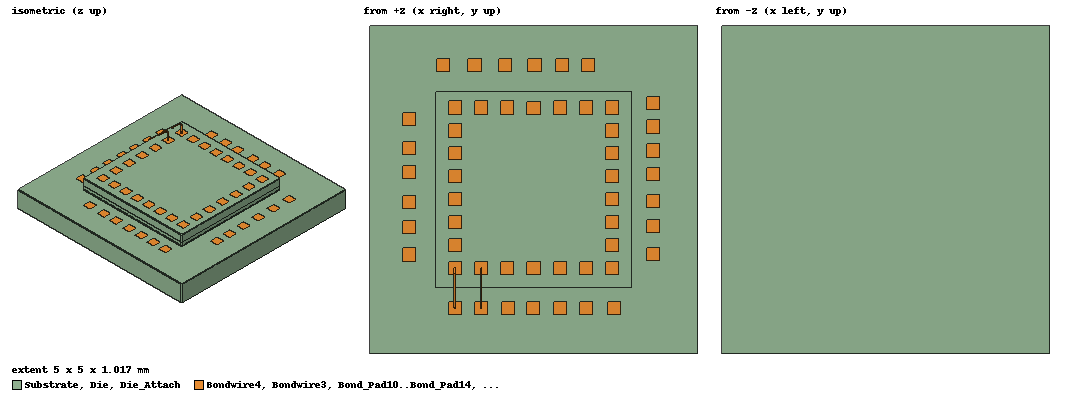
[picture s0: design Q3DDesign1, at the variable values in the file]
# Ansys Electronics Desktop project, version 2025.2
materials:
  vacuum: permittivity=1
  copper: permeability=0.999991 conductivity=58000000
  silicon: permittivity=11.9
  FR4_epoxy: permittivity=4.4 dielectric_loss_tangent=0.02
  modified_epoxy: permittivity=4.2 dielectric_loss_tangent=0.02

design Q3DDesign1 (Q3D Extractor, model units mm)
options: SParamCalcMethod=EqTransLine Calculate_Lossy_Dielectrics
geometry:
  Die [silicon] = rectangle(corner=(0mm, 0mm, 0mm), x_size=3mm, y_size=3mm)
  Die.thicken(0.2mm)
  Substrate [FR4_epoxy] = rectangle(corner=(-1mm, -1mm, -0.1mm), x_size=5mm, y_size=5mm)
  Substrate.thicken(-0.5mm)
  Die_Attach [modified_epoxy] = rectangle(corner=(0mm, 0mm, -0.1mm), x_size=3mm, y_size=3mm)
  Die_Attach.thicken(0.1mm)
  Bond_Pad1 [copper] = rectangle(corner=(0.2mm, 0.2mm, 0.2mm), x_size=0.2mm, y_size=0.2mm)
  Bond_Pad1.thicken(0.005mm)
  Bond_Pad26, Bond_Pad25, Bond_Pad24, Bond_Pad23, Bond_Pad22, Bond_Pad21 [copper] = Bond_Pad1.duplicate_along_line(step=(0mm, 0.35mm, -0.005mm), total=7)
  Bond_Pad26.move(0mm, 0mm, 0.005mm)
  Bond_Pad25.move(0mm, 0mm, 0.01mm)
  Bond_Pad24.move(0mm, 0mm, 0.005mm)
  Bond_Pad24.move(0mm, 0mm, 0.005mm)
  Bond_Pad24.move(0mm, 0mm, 0.005mm)
  Bond_Pad23.move(0mm, 0mm, 0.02mm)
  Bond_Pad22.move(0mm, 0mm, 0.025mm)
  Bond_Pad21.move(0mm, 0mm, 0.03mm)
  Bond_Pad20 [copper] = Bond_Pad21.duplicate_along_line(step=(1.110223e-16mm, 0.35mm, -0.005mm), total=2)
  Bond_Pad20.move(0mm, 0mm, 0.005mm)
  Bond_Pad2..Bond_Pad7 [copper] = Bond_Pad1.duplicate_along_line(step=(0.4mm, 5.5511151e-17mm, -0.005mm), total=7)
  Bond_Pad2.move(0mm, 0mm, 0mm)
  Bond_Pad2.move(0mm, -2.7755576e-17mm, 0.005mm)
  Bond_Pad3.move(0mm, -1.110223e-16mm, 0.01mm)
  Bond_Pad4.move(0mm, -0.2mm, 0.015mm)
  Bond_Pad5.move(0mm, -1.9428903e-16mm, 0.02mm)
  Bond_Pad6.move(0mm, -2.4980018e-16mm, 0.025mm)
  Bond_Pad7.move(0mm, -3.3306691e-16mm, 0.03mm)
  Bond_Pad4.move(-2.220446e-16mm, 0.2mm, -0.005mm)
  Bond_Pad8..Bond_Pad14 [copper] = Bond_Pad7.duplicate_along_line(step=(0mm, 0.34mm, -0.005mm), total=8)
  Bond_Pad14.move(0mm, 0.07mm, 0.03mm)
  Bond_Pad14.move(0mm, -4.4408921e-16mm, 0.005mm)
  Bond_Pad13.move(0mm, 0.06mm, 0.03mm)
  Bond_Pad12.move(0mm, 0.05mm, 0.025mm)
  Bond_Pad11.move(0mm, 0.04mm, 0.02mm)
  Bond_Pad10.move(0mm, 0.035mm, 0.015mm)
  Bond_Pad10.move(0mm, -0.005mm, 0mm)
  Bond_Pad9.move(0mm, 0.01mm, 0.01mm)
  Bond_Pad9.move(0mm, 0.01mm, 0mm)
  Bond_Pad8.move(0mm, 0.01mm, 0.005mm)
  Bond_Pad19, Bond_Pad18, Bond_Pad17, Bond_Pad16, Bond_Pad15 [copper] = Bond_Pad20.duplicate_along_line(step=(0.35mm, -4.4408921e-16mm, -0.005mm), total=7)  # copies kept: 1..5
  Bond_Pad19.move(0.02mm, -4.4408921e-16mm, 0.005mm)
  Bond_Pad19.move(0.01mm, 0mm, 0mm)
  Bond_Pad19.move(0.01mm, 0mm, 0mm)
  Bond_Pad19.move(0.01mm, 0mm, 0mm)
  Bond_Pad18.move(0.1mm, 0mm, 0.01mm)
  Bond_Pad4.move(0mm, 0mm, 0.01mm)
  Bond_Pad4.move(0mm, -0.2mm, -0.005mm)
  Bond_Pad4.move(0mm, 0.2mm, 0mm)
  Bond_Pad17.move(0.13mm, -0.01mm, 0.015mm)
  Bond_Pad17.move(0.01mm, 0mm, 0mm)
  Bond_Pad17.move(0.01mm, 0mm, 0mm)
  Bond_Pad16.move(0.12mm, 0mm, 0mm)
  Bond_Pad15.move(0.2mm, 1.3322676e-15mm, 0.025mm)
  Bond_Pad16.move(0.08mm, 0mm, 0.02mm)
  Bond_Pad15.move(0.04mm, 0mm, 0mm)
  Bond_Pad15.move(0.01mm, 0mm, 0mm)
  Subst_Pad1 [copper] = rectangle(corner=(0mm, -0.4mm, -0.1mm), x_size=0.2mm, y_size=0.2mm)
  Subst_Pad1.thicken(0.005mm)
  Subst_Pad2..Subst_Pad7 [copper], Subst_Pad1_7 = Subst_Pad1.duplicate_along_line(step=(0.45mm, -5.5511151e-17mm, -0.005mm), total=8)
  Subst_Pad8..Subst_Pad14 [copper], Subst_Pad1_7_8 = Subst_Pad1_7.duplicate_along_line(step=(0.01mm, 0.44mm, 0.01mm), total=9)
  Subst_Pad1_7.delete()
  Subst_Pad2.move(0mm, 5.5511151e-17mm, 0.005mm)
  Subst_Pad2.move(0.15mm, 0mm, 0mm)
  Subst_Pad1.move(0.2mm, 0mm, 0mm)
  Subst_Pad3.move(0.1mm, 5.5511151e-17mm, 0.01mm)
  Subst_Pad3.move(0.02mm, 0mm, 0mm)
  Subst_Pad3.move(-0.004mm, 0mm, 0mm)
  Subst_Pad3.move(-0.005mm, 0mm, 0mm)
  Subst_Pad3.move(-0.005mm, 0mm, 0mm)
  Subst_Pad4.move(0.04mm, 0mm, 0.02mm)
  Subst_Pad4.move(0mm, 0mm, -0.005mm)
  Subst_Pad5.move(0.02mm, 0mm, 0.02mm)
  Subst_Pad5.move(-0.005mm, 0mm, 0mm)
  Subst_Pad5.move(-0.005mm, 0mm, 0mm)
  Subst_Pad6.move(-0.025mm, 0mm, 0.025mm)
  Subst_Pad6.move(-0.006mm, 0mm, 0mm)
  Subst_Pad6.move(-0.004mm, 0mm, 0mm)
  Subst_Pad6.move(-0.008mm, 0mm, 0mm)
  Subst_Pad7.move(-0.045mm, 0mm, 0.03mm)
  Subst_Pad7.move(-0.03mm, 0mm, 0mm)
  Subst_Pad14.move(0mm, -0.04mm, -0.04mm)
  Subst_Pad14.move(0mm, 0.006mm, 0.006mm)
  Subst_Pad14.move(0mm, 0.0015mm, -0.001mm)
  Subst_Pad13.move(-0.01mm, 0.06mm, -0.025mm)
  Subst_Pad12.move(2.6645353e-15mm, 0.16mm, -0.015mm)
  Subst_Pad12.move(-4.4408921e-16mm, -0.005mm, 0mm)
  Subst_Pad11.move(-0.01mm, 0.24mm, -0.005mm)
  Subst_Pad10.move(8.8817842e-16mm, 0.3mm, 0.005mm)
  Subst_Pad9.move(-0.02mm, 0.37mm, 0.015mm)
  Subst_Pad8.move(-4.4408921e-16mm, 0.14mm, 0.025mm)
  Subst_Pad8.move(0mm, 0.24mm, 0mm)
  Subst_Pad1_7_8.move(-0.01mm, 0.1mm, -0.045mm)
  Subst_Pad16, Subst_Pad15, Subst_Pad17, Subst_Pad18 [copper] = Subst_Pad1_7_8.duplicate_along_line(step=(-0.56mm, 0.08mm, -0.005mm), total=7)  # copies kept: 1, 2, 4, 6
  Subst_Pad1_7_8.delete()
  Subst_Pad15.move(0.56mm, -0.08mm, 0.005mm)
  Subst_Pad17.move(1.68mm, -0.24mm, 0.015mm)
  Subst_Pad18.move(2.8mm, -0.4mm, 0.025mm)
  Subst_Pad14.move(3.9968029e-15mm, 0.0425mm, 4.57967e-16mm)
  Subst_Pad14.move(0mm, 0.035mm, 0mm)
  Subst_Pad13.move(-4.4408921e-16mm, 0.06mm, 0mm)
  Subst_Pad12.move(4.4408921e-16mm, 0.065mm, -1.3877788e-17mm)
  Subst_Pad12.move(-4.4408921e-16mm, -0.025mm, 0mm)
  Subst_Pad11.move(-4.4408921e-16mm, 0.03mm, -1.3877788e-17mm)
  Subst_Pad15.move(-0.485mm, 0mm, 0.005mm)
  Subst_Pad16.move(-0.88mm, 4.4408921e-16mm, 0.005mm)
  Subst_Pad17.move(-1.305mm, 0mm, 0.005mm)
  Subst_Pad18.move(-1.681mm, 0mm, 0.005mm)
  Subst_Pad13.move(0.021mm, 0mm, 0mm)
  Subst_Pad13.move(-0.001mm, 0mm, 0mm)
  Subst_Pad12.move(0.02mm, 0mm, 0mm)
  [Subst_Pad11, Subst_Pad10].move(0.04mm, 0mm, 0mm)
  Subst_Pad9.move(0.07mm, 0mm, 0mm)
  Subst_Pad8.move(0.06mm, 0mm, 0mm)
  Subst_Pad19, Subst_Pad20 [copper], Subst_Pad1_7_8_6_3 = Subst_Pad18.duplicate_along_line(step=(-0.479mm, 1.5987212e-14mm, -0.005mm), total=4)
  Subst_Pad1_7_8_6_3.move(0mm, 0mm, 0.015mm)
  Subst_Pad20.move(0mm, 0mm, 0.01mm)
  Subst_Pad19.move(0mm, 0mm, 0.005mm)
  Subst_Pad18.move(-0.015mm, 0mm, 0mm)
  Subst_Pad15.move(0.05mm, 0mm, 0mm)
  [Subst_Pad16, Subst_Pad17].move(0.06mm, 0mm, 0mm)
  Subst_Pad22..Subst_Pad26, Subst_Pad21 [copper] = Subst_Pad1_7_8_6_3.duplicate_along_line(step=(-0.042mm, -0.4mm, 0.095mm), total=7)
  Subst_Pad21.move(0.01mm, -0.9mm, -0.57mm)
  Subst_Pad21.move(0mm, 0.29mm, 0mm)
  Subst_Pad26.move(0.008mm, -0.54mm, -0.475mm)
  Subst_Pad25.move(0.006mm, -0.54mm, -0.38mm)
  Subst_Pad25.move(0mm, 0.015mm, 0mm)
  Subst_Pad24.move(0.004mm, -0.36mm, -0.285mm)
  Subst_Pad24.move(0mm, -0.03mm, 0mm)
  Subst_Pad23.move(0mm, -0.4mm, -0.19mm)
  Subst_Pad22.move(0mm, -0.36mm, 0mm)
  Subst_Pad22.move(1.110223e-16mm, -0.005mm, -0.095mm)
  Subst_Pad1_7_8_6_3.move(-0.045mm, 0mm, 0mm)
  Subst_Pad1_7_8_6_3.move(0.003mm, 0mm, 0mm)
  Subst_Pad1_7_8_6_3.delete()
  Subst_Pad21.move(0.195mm, 2.535mm, 0mm)
  Subst_Pad21.move(0.004mm, 0mm, 0mm)
  Subst_Pad26.move(0.16mm, 0mm, 0mm)
  Subst_Pad25.move(0.11mm, 0mm, 0mm)
  Subst_Pad25.move(0.01mm, 0mm, 0mm)
  Subst_Pad24.move(0.08mm, 0mm, 0mm)
  Subst_Pad23.move(0.04mm, 0mm, 0mm)
  Subst_Pad23.move(0.002mm, 0mm, 0mm)
  Subst_Pad21.move(0.001mm, 0mm, 0mm)
  Subst_Pad26.move(0mm, -0.32mm, 0mm)
  Subst_Pad25.move(0mm, -0.34mm, 0mm)
  Subst_Pad26.move(0mm, -0.03mm, 0mm)
  Subst_Pad24.move(0mm, -0.5mm, 0mm)
  Subst_Pad23.move(0mm, -0.35mm, 0mm)
  Subst_Pad23.move(0mm, -0.08mm, 0mm)
  Subst_Pad22.move(0mm, -0.5mm, 0mm)
  Subst_Pad21.move(0mm, -0.35mm, 0mm)
  Bondwire3 [copper] = bondwire(WireType=JEDEC_4Points WireDiameter=0.025mm NumSides=6 XPadPos=0.3mm YPadPos=0.3mm ZPadPos=0.205mm XDir=0mm YDir=-0.6mm ZDir=0mm Distance=0.6mm h1=0.2mm h2=0.295mm alpha=80deg beta=80deg WhichAxis=Z)
  Bondwire4 [copper] = bondwire(WireType=JEDEC_4Points WireDiameter=0.025mm NumSides=6 XPadPos=0.7mm YPadPos=0.3mm ZPadPos=0.205mm XDir=1.110223e-16mm YDir=-0.6mm ZDir=0mm Distance=0.6mm h1=0.2mm h2=0.295mm alpha=80deg beta=80deg WhichAxis=Z)
